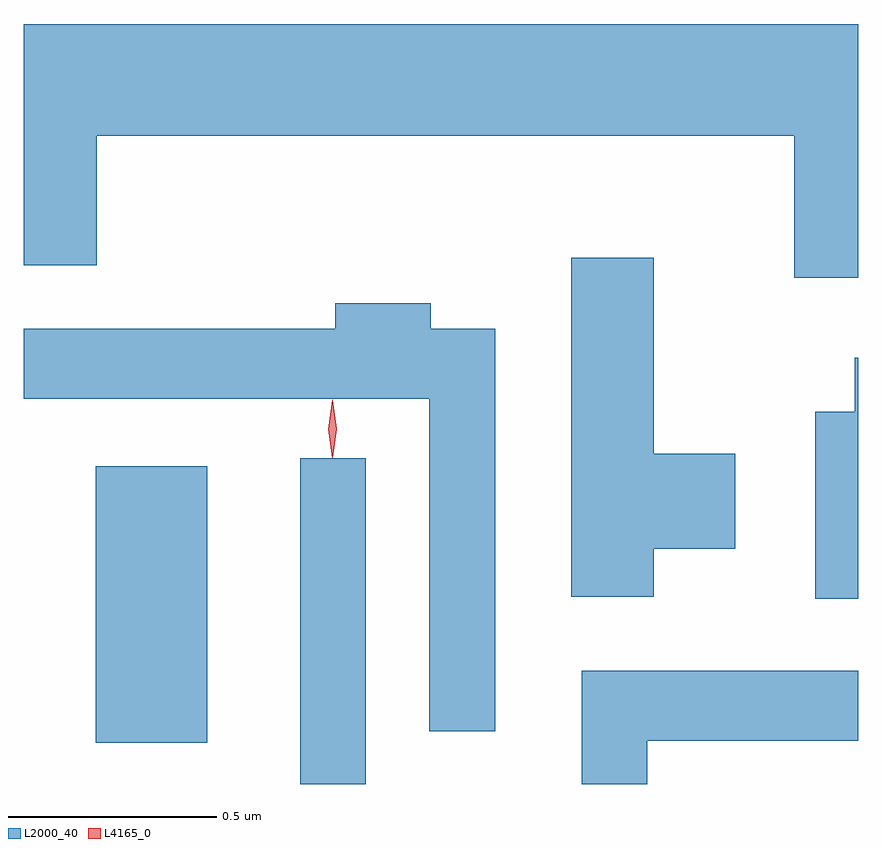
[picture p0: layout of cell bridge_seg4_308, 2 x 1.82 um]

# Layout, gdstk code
import gdstk
lib = gdstk.Library(unit=1e-6, precision=1e-09)
def R(c, l, rs):  # rectangles x0, y0, x1, y1
    for r in rs: c.add(gdstk.rectangle(r[:2], r[2:], *l))
def P(c, l, *ps):  # polygons
    for p in ps: c.add(gdstk.Polygon(p, *l))
L2000_40 = (2000, 40)
L4165_0 = (4165, 0)

bridge_seg4_308 = lib.new_cell('bridge_seg4_308')
R(bridge_seg4_308, L2000_40, [(540.986,1310.942,541.144,1311.723), (540.496,1311.041,540.764,1311.704)])
P(bridge_seg4_308, L2000_40, [(542.324,1312.764),(540.324,1312.764),(540.324,1312.186),(540.499,1312.186),(540.499,1312.496),(542.171,1312.496),(542.171,1312.156),(542.324,1312.156)],
  [(541.834,1311.506),(542.029,1311.506),(542.029,1311.734),(541.834,1311.734),(541.834,1312.204),(541.636,1312.204),(541.636,1311.391),(541.834,1311.391)],
  [(541.454,1312.034),(541.299,1312.034),(541.299,1312.094),(541.071,1312.094),(541.071,1312.034),(540.324,1312.034),(540.324,1311.866),(541.296,1311.866),(541.296,1311.068),(541.454,1311.068)],
  [(542.324,1311.964),(542.316,1311.964),(542.316,1311.834),(542.221,1311.834),(542.221,1311.386),(542.324,1311.386)],
  [(541.819,1311.046),(542.324,1311.046),(542.324,1311.214),(541.661,1311.214),(541.661,1310.942),(541.819,1310.942)])
P(bridge_seg4_308, L4165_0, [(541.064,1311.727),(541.055,1311.794),(541.064,1311.86),(541.064,1311.86),(541.065,1311.86),(541.074,1311.794),(541.065,1311.727),(541.065,1311.727)],
  [(541.063,1311.724),(541.054,1311.793),(541.063,1311.862),(541.064,1311.863),(541.064,1311.862),(541.074,1311.793),(541.064,1311.724),(541.064,1311.724)])

lib.write_gds('bridge_seg4_308.gds')
